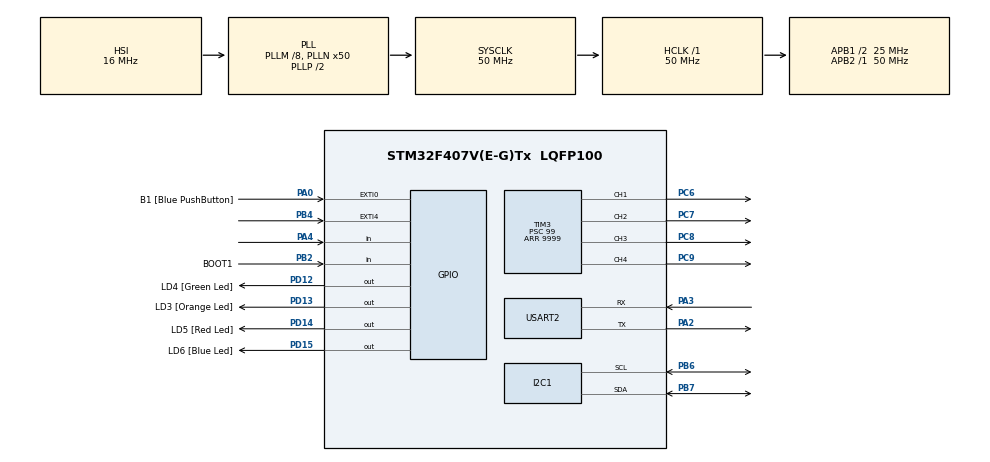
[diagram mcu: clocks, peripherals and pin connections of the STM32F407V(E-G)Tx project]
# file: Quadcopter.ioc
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Dma.Request0=USART2_RX
Dma.Request1=USART2_TX
Dma.USART2_RX.0.Direction=DMA_PERIPH_TO_MEMORY
Dma.USART2_RX.0.FIFOMode=DMA_FIFOMODE_DISABLE
Dma.USART2_RX.0.Instance=DMA1_Stream5
Dma.USART2_RX.0.MemDataAlignment=DMA_MDATAALIGN_BYTE
Dma.USART2_RX.0.MemInc=DMA_MINC_ENABLE
Dma.USART2_RX.0.Mode=DMA_NORMAL
Dma.USART2_RX.0.PeriphDataAlignment=DMA_PDATAALIGN_BYTE
Dma.USART2_RX.0.PeriphInc=DMA_PINC_DISABLE
Dma.USART2_RX.0.Priority=DMA_PRIORITY_LOW
Dma.USART2_TX.1.Direction=DMA_MEMORY_TO_PERIPH
Dma.USART2_TX.1.FIFOMode=DMA_FIFOMODE_DISABLE
Dma.USART2_TX.1.Instance=DMA1_Stream6
Dma.USART2_TX.1.MemDataAlignment=DMA_MDATAALIGN_BYTE
Dma.USART2_TX.1.MemInc=DMA_MINC_ENABLE
Dma.USART2_TX.1.Mode=DMA_NORMAL
Dma.USART2_TX.1.PeriphDataAlignment=DMA_PDATAALIGN_BYTE
Dma.USART2_TX.1.PeriphInc=DMA_PINC_DISABLE
Dma.USART2_TX.1.Priority=DMA_PRIORITY_LOW
I2C1.DutyCycle=I2C_DUTYCYCLE_16_9
I2C1.I2C_Mode=I2C_Fast
Mcu.Family=STM32F4
Mcu.Name=STM32F407V(E-G)Tx
Mcu.Package=LQFP100
NVIC.DMA1_Stream5_IRQn=true\:0\:0\:false\:false\:true
NVIC.DMA1_Stream6_IRQn=true\:0\:0\:false\:false\:true
NVIC.EXTI4_IRQn=true\:0\:0\:false\:false\:true
NVIC.PriorityGroup=NVIC_PRIORITYGROUP_4
NVIC.USART2_IRQn=true\:0\:0\:false\:false\:true
PA0-WKUP.GPIO_Label=B1 [Blue PushButton]
PA0-WKUP.Signal=GPXTI0
PA13.GPIO_Label=SWDIO
PA13.Signal=SYS_JTMS-SWDIO
PA14.GPIO_Label=SWCLK
PA14.Signal=SYS_JTCK-SWCLK
PA2.Mode=Asynchronous
PA2.Signal=USART2_TX
PA3.Mode=Asynchronous
PA3.Signal=USART2_RX
PA4.Signal=GPIO_Input
PB2.GPIO_Label=BOOT1
PB2.GPIO_Mode=GPIO_MODE_INPUT
PB2.GPIO_PuPd=GPIO_NOPULL
PB2.Signal=GPIO_Input
PB3.GPIO_Label=SWO
PB3.Signal=SYS_JTDO-SWO
PB4.Signal=GPXTI4
PB6.Mode=I2C
PB6.Signal=I2C1_SCL
PB7.Mode=I2C
PB7.Signal=I2C1_SDA
PC14-OSC32_IN.GPIO_Label=PC14-OSC32_IN
PC14-OSC32_IN.Signal=RCC_OSC32_IN
PC15-OSC32_OUT.GPIO_Label=PC15-OSC32_OUT
PC15-OSC32_OUT.Signal=RCC_OSC32_OUT
PC6.Signal=S_TIM3_CH1
PC7.Signal=S_TIM3_CH2
PC8.Signal=S_TIM3_CH3
PC9.Signal=S_TIM3_CH4
PD12.GPIO_Label=LD4 [Green Led]
PD12.GPIO_PuPd=GPIO_NOPULL
PD12.GPIO_Speed=GPIO_SPEED_FREQ_LOW
PD12.Signal=GPIO_Output
PD13.GPIO_Label=LD3 [Orange Led]
PD13.GPIO_PuPd=GPIO_NOPULL
PD13.GPIO_Speed=GPIO_SPEED_FREQ_LOW
PD13.Signal=GPIO_Output
PD14.GPIO_Label=LD5 [Red Led]
PD14.GPIO_PuPd=GPIO_NOPULL
PD14.GPIO_Speed=GPIO_SPEED_FREQ_LOW
PD14.Signal=GPIO_Output
PD15.GPIO_Label=LD6 [Blue Led]
PD15.GPIO_PuPd=GPIO_NOPULL
PD15.GPIO_Speed=GPIO_SPEED_FREQ_LOW
PD15.Signal=GPIO_Output
PH0-OSC_IN.GPIO_Label=PH0-OSC_IN
PH0-OSC_IN.Signal=RCC_OSC_IN
PH1-OSC_OUT.GPIO_Label=PH1-OSC_OUT
PH1-OSC_OUT.Signal=RCC_OSC_OUT
ProjectManager.HeapSize=0x200
ProjectManager.StackSize=0x400
ProjectManager.TargetToolchain=MDK-ARM V5
RCC.48MHZClocksFreq_Value=14285714.285714285
RCC.AHBFreq_Value=50000000
RCC.APB1CLKDivider=RCC_HCLK_DIV2
RCC.APB1Freq_Value=25000000
RCC.APB1TimFreq_Value=50000000
RCC.APB2Freq_Value=50000000
RCC.APB2TimFreq_Value=50000000
RCC.CortexFreq_Value=50000000
RCC.HCLKFreq_Value=50000000
RCC.HSE_VALUE=8000000
RCC.HSI_VALUE=16000000
RCC.LSE_VALUE=32768
RCC.PLLM=8
RCC.PLLN=50
RCC.PLLQ=7
RCC.SYSCLKFreq_VALUE=50000000
RCC.SYSCLKSource=RCC_SYSCLKSOURCE_PLLCLK
RCC.VCOOutputFreq_Value=100000000
SH.S_TIM3_CH1.0=TIM3_CH1,PWM Generation1 CH1
SH.S_TIM3_CH2.0=TIM3_CH2,PWM Generation2 CH2
SH.S_TIM3_CH3.0=TIM3_CH3,PWM Generation3 CH3
SH.S_TIM3_CH4.0=TIM3_CH4,PWM Generation4 CH4
TIM3.Channel-PWM\ Generation1\ CH1=TIM_CHANNEL_1
TIM3.Channel-PWM\ Generation2\ CH2=TIM_CHANNEL_2
TIM3.Channel-PWM\ Generation3\ CH3=TIM_CHANNEL_3
TIM3.Channel-PWM\ Generation4\ CH4=TIM_CHANNEL_4
TIM3.Period=9999
TIM3.Prescaler=99
USART2.Parity=PARITY_EVEN
USART2.VirtualMode=VM_ASYNC
USART2.WordLength=WORDLENGTH_9B
board=STM32F4DISCOVERY

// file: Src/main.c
/**
  ******************************************************************************
  * File Name          : main.c
  * Description        : Main program body
  ******************************************************************************
  *
  * COPYRIGHT(c) 2017 STMicroelectronics
  *
  * Redistribution and use in source and binary forms, with or without modification,
  * are permitted provided that the following conditions are met:
  *   1. Redistributions of source code must retain the above copyright notice,
  *      this list of conditions and the following disclaimer.
  *   2. Redistributions in binary form must reproduce the above copyright notice,
  *      this list of conditions and the following disclaimer in the documentation
  *      and/or other materials provided with the distribution.
  *   3. Neither the name of STMicroelectronics nor the names of its contributors
  *      may be used to endorse or promote products derived from this software
  *      without specific prior written permission.
  *
  * THIS SOFTWARE IS PROVIDED BY THE COPYRIGHT HOLDERS AND CONTRIBUTORS "AS IS"
  * AND ANY EXPRESS OR IMPLIED WARRANTIES, INCLUDING, BUT NOT LIMITED TO, THE
  * IMPLIED WARRANTIES OF MERCHANTABILITY AND FITNESS FOR A PARTICULAR PURPOSE ARE
  * DISCLAIMED. IN NO EVENT SHALL THE COPYRIGHT HOLDER OR CONTRIBUTORS BE LIABLE
  * FOR ANY DIRECT, INDIRECT, INCIDENTAL, SPECIAL, EXEMPLARY, OR CONSEQUENTIAL
  * DAMAGES (INCLUDING, BUT NOT LIMITED TO, PROCUREMENT OF SUBSTITUTE GOODS OR
  * SERVICES; LOSS OF USE, DATA, OR PROFITS; OR BUSINESS INTERRUPTION) HOWEVER
  * CAUSED AND ON ANY THEORY OF LIABILITY, WHETHER IN CONTRACT, STRICT LIABILITY,
  * OR TORT (INCLUDING NEGLIGENCE OR OTHERWISE) ARISING IN ANY WAY OUT OF THE USE
  * OF THIS SOFTWARE, EVEN IF ADVISED OF THE POSSIBILITY OF SUCH DAMAGE.
  *
  ******************************************************************************
  */
#include "main.h"
#include "stm32f4xx_hal.h"

I2C_HandleTypeDef hi2c1;

TIM_HandleTypeDef htim3;

UART_HandleTypeDef huart2;
DMA_HandleTypeDef hdma_usart2_rx;
DMA_HandleTypeDef hdma_usart2_tx;

/* USER CODE BEGIN PV */
/* Private variables ---------------------------------------------------------*/
uint8_t TxBuffer[32];
uint8_t RxBuffer[32];
uint8_t TxBuffer1[32];
uint8_t RxBuffer1[32];

extern uint16_t Timebase_500ms_even_flag;
extern uint16_t Timebase_300ms_even_flag;
extern uint16_t Timebase_50ms_even_flag;
extern uint16_t Timebase_5ms_even_flag;
/* USER CODE END PV */

void SystemClock_Config(void);
void Error_Handler(void);
static void MX_GPIO_Init(void);
static void MX_DMA_Init(void);
static void MX_I2C1_Init(void);
static void MX_USART2_UART_Init(void);
static void MX_TIM3_Init(void);

void HAL_TIM_MspPostInit(TIM_HandleTypeDef *htim);

/* USER CODE BEGIN PFP */
/* Private function prototypes -----------------------------------------------*/

/* USER CODE END PFP */

int main(void)
{

  /* USER CODE BEGIN 1 */
  static uint32_t LED_Count  = 0;
  /* USER CODE END 1 */

  /* MCU Configuration----------------------------------------------------------*/

  /* Reset of all peripherals, Initializes the Flash interface and the Systick. */
  HAL_Init();

  /* Configure the system clock */
  SystemClock_Config();

  /* Initialize all configured peripherals */
  MX_GPIO_Init();
  MX_DMA_Init();
  MX_I2C1_Init();
  MX_USART2_UART_Init();
  MX_TIM3_Init();

  /* USER CODE BEGIN 2 */
  LED_Initialize();
  LED_On(2);
  mpu_init_all();
  LED_On(3);
  //HAL_TIM_PWM_Start(&htim3, TIM_CHANNEL_1 | TIM_CHANNEL_2 | TIM_CHANNEL_3 | TIM_CHANNEL_4);
  HAL_TIM_PWM_Start(&htim3, TIM_CHANNEL_1);
  HAL_TIM_PWM_Start(&htim3, TIM_CHANNEL_2);
  HAL_TIM_PWM_Start(&htim3, TIM_CHANNEL_3);
  HAL_TIM_PWM_Start(&htim3, TIM_CHANNEL_4);
  Duty_4(1250, 2500, 5000, 1000);
  /* USER CODE END 2 */

  /* Infinite loop */
  /* USER CODE BEGIN WHILE */
  while (1)
  {
    if ( (Timebase_5ms_even_flag & 0x01) == 0 )
    {
      Mpu_data_refresh();
      Timebase_5ms_even_flag |= 0x01;
    }

    if ( (Timebase_50ms_even_flag & 0x01) == 0 )
    {
      Timebase_50ms_even_flag |= 0x01;
    }

    if ( (Timebase_500ms_even_flag & 0x01) == 0 )
    {
      Timebase_500ms_even_flag |= 0x01;
    }

    if ( (Timebase_300ms_even_flag & 0x01) == 0 )
    {
      LED_SetOut(LED_Count++);
      Timebase_300ms_even_flag |= 0x01;
    }
    /* USER CODE END WHILE */

  }

}

/** System Clock Configuration
*/
void SystemClock_Config(void)
{

  RCC_OscInitTypeDef RCC_OscInitStruct;
  RCC_ClkInitTypeDef RCC_ClkInitStruct;

  /**Configure the main internal regulator output voltage
  */
  __HAL_RCC_PWR_CLK_ENABLE();

  __HAL_PWR_VOLTAGESCALING_CONFIG(PWR_REGULATOR_VOLTAGE_SCALE1);

  /**Initializes the CPU, AHB and APB busses clocks
  */
  RCC_OscInitStruct.OscillatorType = RCC_OSCILLATORTYPE_HSI;
  RCC_OscInitStruct.HSIState = RCC_HSI_ON;
  RCC_OscInitStruct.HSICalibrationValue = 16;
  RCC_OscInitStruct.PLL.PLLState = RCC_PLL_ON;
  RCC_OscInitStruct.PLL.PLLSource = RCC_PLLSOURCE_HSI;
  RCC_OscInitStruct.PLL.PLLM = 8;
  RCC_OscInitStruct.PLL.PLLN = 50;
  RCC_OscInitStruct.PLL.PLLP = RCC_PLLP_DIV2;
  RCC_OscInitStruct.PLL.PLLQ = 7;
  if (HAL_RCC_OscConfig(&RCC_OscInitStruct) != HAL_OK)
  {
    Error_Handler();
  }

  /**Initializes the CPU, AHB and APB busses clocks
  */
  RCC_ClkInitStruct.ClockType = RCC_CLOCKTYPE_HCLK | RCC_CLOCKTYPE_SYSCLK
                                | RCC_CLOCKTYPE_PCLK1 | RCC_CLOCKTYPE_PCLK2;
  RCC_ClkInitStruct.SYSCLKSource = RCC_SYSCLKSOURCE_PLLCLK;
  RCC_ClkInitStruct.AHBCLKDivider = RCC_SYSCLK_DIV1;
  RCC_ClkInitStruct.APB1CLKDivider = RCC_HCLK_DIV2;
  RCC_ClkInitStruct.APB2CLKDivider = RCC_HCLK_DIV1;

  if (HAL_RCC_ClockConfig(&RCC_ClkInitStruct, FLASH_LATENCY_1) != HAL_OK)
  {
    Error_Handler();
  }

  /**Configure the Systick interrupt time
  */
  HAL_SYSTICK_Config(HAL_RCC_GetHCLKFreq() / 1000);

  /**Configure the Systick
  */
  HAL_SYSTICK_CLKSourceConfig(SYSTICK_CLKSOURCE_HCLK);

  /* SysTick_IRQn interrupt configuration */
  HAL_NVIC_SetPriority(SysTick_IRQn, 0, 0);
}

/* I2C1 init function */
static void MX_I2C1_Init(void)
{

  hi2c1.Instance = I2C1;
  hi2c1.Init.ClockSpeed = 400000;
  hi2c1.Init.DutyCycle = I2C_DUTYCYCLE_16_9;
  hi2c1.Init.OwnAddress1 = 0;
  hi2c1.Init.AddressingMode = I2C_ADDRESSINGMODE_7BIT;
  hi2c1.Init.DualAddressMode = I2C_DUALADDRESS_DISABLE;
  hi2c1.Init.OwnAddress2 = 0;
  hi2c1.Init.GeneralCallMode = I2C_GENERALCALL_DISABLE;
  hi2c1.Init.NoStretchMode = I2C_NOSTRETCH_DISABLE;
  if (HAL_I2C_Init(&hi2c1) != HAL_OK)
  {
    Error_Handler();
  }

}

/* TIM3 init function */
static void MX_TIM3_Init(void)
{

  TIM_MasterConfigTypeDef sMasterConfig;
  TIM_OC_InitTypeDef sConfigOC;

  htim3.Instance = TIM3;
  htim3.Init.Prescaler = 99;
  htim3.Init.CounterMode = TIM_COUNTERMODE_UP;
  htim3.Init.Period = 9999;
  htim3.Init.ClockDivision = TIM_CLOCKDIVISION_DIV1;
  if (HAL_TIM_PWM_Init(&htim3) != HAL_OK)
  {
    Error_Handler();
  }

  sMasterConfig.MasterOutputTrigger = TIM_TRGO_RESET;
  sMasterConfig.MasterSlaveMode = TIM_MASTERSLAVEMODE_DISABLE;
  if (HAL_TIMEx_MasterConfigSynchronization(&htim3, &sMasterConfig) != HAL_OK)
  {
    Error_Handler();
  }

  sConfigOC.OCMode = TIM_OCMODE_PWM1;
  sConfigOC.Pulse = 0;
  sConfigOC.OCPolarity = TIM_OCPOLARITY_HIGH;
  sConfigOC.OCFastMode = TIM_OCFAST_DISABLE;
  if (HAL_TIM_PWM_ConfigChannel(&htim3, &sConfigOC, TIM_CHANNEL_1) != HAL_OK)
  {
    Error_Handler();
  }

  if (HAL_TIM_PWM_ConfigChannel(&htim3, &sConfigOC, TIM_CHANNEL_2) != HAL_OK)
  {
    Error_Handler();
  }

  if (HAL_TIM_PWM_ConfigChannel(&htim3, &sConfigOC, TIM_CHANNEL_3) != HAL_OK)
  {
    Error_Handler();
  }

  if (HAL_TIM_PWM_ConfigChannel(&htim3, &sConfigOC, TIM_CHANNEL_4) != HAL_OK)
  {
    Error_Handler();
  }

  HAL_TIM_MspPostInit(&htim3);

}

/* USART2 init function */
static void MX_USART2_UART_Init(void)
{

  huart2.Instance = USART2;
  huart2.Init.BaudRate = 115200;
  huart2.Init.WordLength = UART_WORDLENGTH_9B;
  huart2.Init.StopBits = UART_STOPBITS_1;
  huart2.Init.Parity = UART_PARITY_EVEN;
  huart2.Init.Mode = UART_MODE_TX_RX;
  huart2.Init.HwFlowCtl = UART_HWCONTROL_NONE;
  huart2.Init.OverSampling = UART_OVERSAMPLING_16;
  if (HAL_UART_Init(&huart2) != HAL_OK)
  {
    Error_Handler();
  }

}

static void MX_DMA_Init(void)
{
  /* DMA controller clock enable */
  __HAL_RCC_DMA1_CLK_ENABLE();

  /* DMA interrupt init */
  /* DMA1_Stream5_IRQn interrupt configuration */
  HAL_NVIC_SetPriority(DMA1_Stream5_IRQn, 0, 0);
  HAL_NVIC_EnableIRQ(DMA1_Stream5_IRQn);
  /* DMA1_Stream6_IRQn interrupt configuration */
  HAL_NVIC_SetPriority(DMA1_Stream6_IRQn, 0, 0);
  HAL_NVIC_EnableIRQ(DMA1_Stream6_IRQn);

}

/** Configure pins as
        * Analog
        * Input
        * Output
        * EVENT_OUT
        * EXTI
*/
static void MX_GPIO_Init(void)
{

  GPIO_InitTypeDef GPIO_InitStruct;

  /* GPIO Ports Clock Enable */
  __HAL_RCC_GPIOC_CLK_ENABLE();
  __HAL_RCC_GPIOH_CLK_ENABLE();
  __HAL_RCC_GPIOA_CLK_ENABLE();
  __HAL_RCC_GPIOB_CLK_ENABLE();
  __HAL_RCC_GPIOD_CLK_ENABLE();

  /*Configure GPIO pin Output Level */
  HAL_GPIO_WritePin(GPIOD, LD4_Pin | LD3_Pin | LD5_Pin | LD6_Pin, GPIO_PIN_RESET);

  /*Configure GPIO pin : B1_Pin */
  GPIO_InitStruct.Pin = B1_Pin;
  GPIO_InitStruct.Mode = GPIO_MODE_IT_RISING;
  GPIO_InitStruct.Pull = GPIO_NOPULL;
  HAL_GPIO_Init(B1_GPIO_Port, &GPIO_InitStruct);

  /*Configure GPIO pin : PA4 */
  GPIO_InitStruct.Pin = GPIO_PIN_4;
  GPIO_InitStruct.Mode = GPIO_MODE_INPUT;
  GPIO_InitStruct.Pull = GPIO_NOPULL;
  HAL_GPIO_Init(GPIOA, &GPIO_InitStruct);

  /*Configure GPIO pin : BOOT1_Pin */
  GPIO_InitStruct.Pin = BOOT1_Pin;
  GPIO_InitStruct.Mode = GPIO_MODE_INPUT;
  GPIO_InitStruct.Pull = GPIO_NOPULL;
  HAL_GPIO_Init(BOOT1_GPIO_Port, &GPIO_InitStruct);

  /*Configure GPIO pins : LD4_Pin LD3_Pin LD5_Pin LD6_Pin */
  GPIO_InitStruct.Pin = LD4_Pin | LD3_Pin | LD5_Pin | LD6_Pin;
  GPIO_InitStruct.Mode = GPIO_MODE_OUTPUT_PP;
  GPIO_InitStruct.Pull = GPIO_NOPULL;
  GPIO_InitStruct.Speed = GPIO_SPEED_FREQ_LOW;
  HAL_GPIO_Init(GPIOD, &GPIO_InitStruct);

  /*Configure GPIO pin : PB4 */
  GPIO_InitStruct.Pin = GPIO_PIN_4;
  GPIO_InitStruct.Mode = GPIO_MODE_IT_RISING;
  GPIO_InitStruct.Pull = GPIO_NOPULL;
  HAL_GPIO_Init(GPIOB, &GPIO_InitStruct);

  /* EXTI interrupt init*/
  HAL_NVIC_SetPriority(EXTI4_IRQn, 0, 0);
  HAL_NVIC_EnableIRQ(EXTI4_IRQn);

}

void Error_Handler(void)
{
  while (1)
  {
  }
}

/************************ (C) COPYRIGHT STMicroelectronics *****END OF FILE****/
